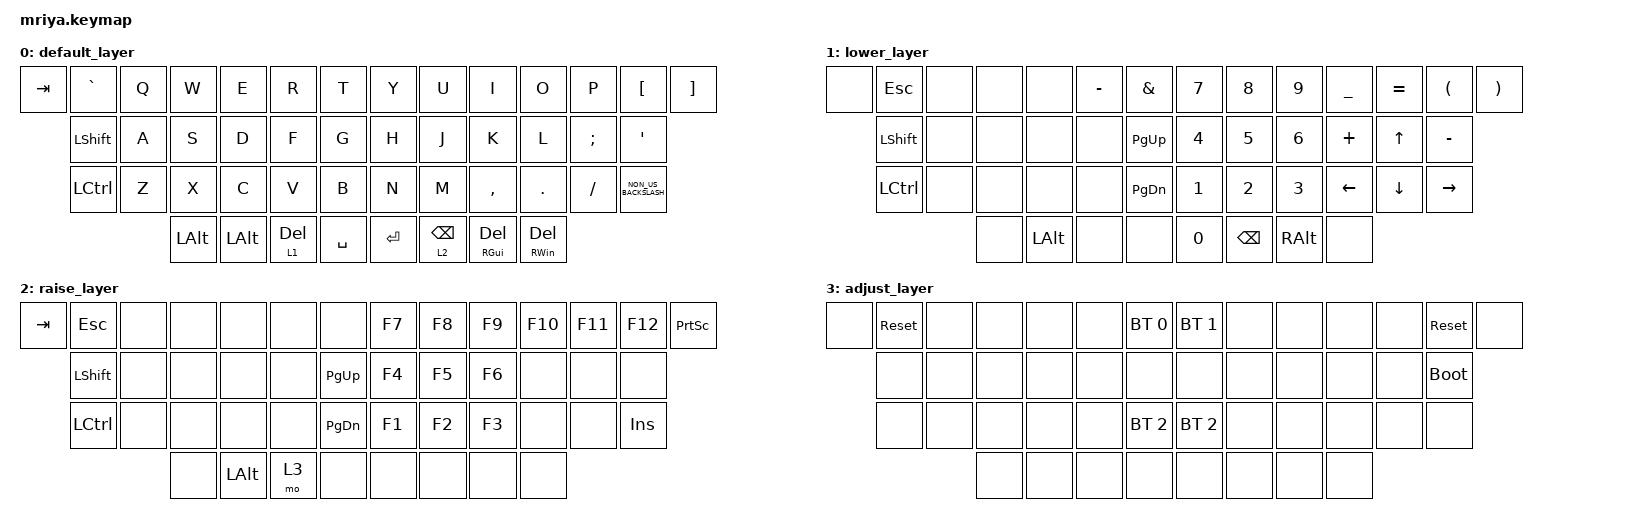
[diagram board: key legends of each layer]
/*
 * Copyright (c) 2023 Andrei Gaevskii
 *
 * SPDX-License-Identifier: MIT
 */

#include <behaviors.dtsi>
#include <dt-bindings/zmk/bt.h>
#include <dt-bindings/zmk/keys.h>

#define DEF 0
#define LWR 1
#define RSE 2
#define ADJ 3

&lt { quick_tap_ms = <200>; };

&mt { quick_tap_ms = <200>; };

/ {
    combos {
        compatible = "zmk,combos";

        layer-3-clear-bt {
            bindings = <&bt BT_CLR>;
            key-positions = <42 41>;
            layers = <3>;
        };
    };

    keymap {
        compatible = "zmk,keymap";

        default_layer {
            bindings = <
&kp TAB  &kp GRAVE   &kp Q  &kp W         &kp E         &kp R      &kp T        &kp Y      &kp U            &kp I              &kp O         &kp P     &kp LBKT              &kp RBKT
         &kp LSHIFT  &kp A  &kp S         &kp D         &kp F      &kp G        &kp H      &kp J            &kp K              &kp L         &kp SEMI  &kp SQT
         &kp LCTRL   &kp Z  &kp X         &kp C         &kp V      &kp B        &kp N      &kp M            &kp COMMA          &kp DOT       &kp FSLH  &kp NON_US_BACKSLASH
                            &kp LEFT_ALT  &kp LEFT_ALT  &lt 1 DEL  &kp SPACE    &kp ENTER  &lt 2 BACKSPACE  &mt RIGHT_GUI DEL  &mt RWIN DEL
            >;
        };

        lower_layer {
            bindings = <
&none  &kp ESC         &none  &none  &none         &kp MINUS  &kp AMPS         &kp NUMBER_7  &kp NUMBER_8   &kp NUMBER_9   &kp UNDERSCORE  &kp EQUAL       &kp LPAR         &kp RIGHT_PARENTHESIS
       &kp LEFT_SHIFT  &none  &none  &none         &none      &kp PAGE_UP      &kp NUMBER_4  &kp NUMBER_5   &kp NUMBER_6   &kp PLUS        &kp UP_ARROW    &kp MINUS
       &kp LCTRL       &none  &none  &none         &none      &kp PAGE_DOWN    &kp NUMBER_1  &kp NUMBER_2   &kp NUMBER_3   &kp LEFT_ARROW  &kp DOWN_ARROW  &kp RIGHT_ARROW
                              &none  &kp LEFT_ALT  &none      &none            &kp NUMBER_0  &kp BACKSPACE  &kp RIGHT_ALT  &none
            >;
        };

        raise_layer {
            bindings = <
&kp TAB  &kp ESCAPE      &none  &none  &none         &none  &none            &kp F7  &kp F8  &kp F9  &kp F10  &kp F11  &kp F12  &kp PRINTSCREEN
         &kp LEFT_SHIFT  &none  &none  &none         &none  &kp PAGE_UP      &kp F4  &kp F5  &kp F6  &none    &none    &none
         &kp LCTRL       &none  &none  &none         &none  &kp PAGE_DOWN    &kp F1  &kp F2  &kp F3  &none    &none    &kp INS
                                &none  &kp LEFT_ALT  &mo 3  &none            &none   &none   &none   &none
            >;
        };

        adjust_layer {
            bindings = <
&none  &sys_reset  &none  &none  &none  &none  &bt BT_SEL 0    &bt BT_SEL 1  &none  &none  &none  &none  &sys_reset   &none
       &none       &none  &none  &none  &none  &none           &none         &none  &none  &none  &none  &bootloader
       &none       &none  &none  &none  &none  &bt BT_SEL 2    &bt BT_SEL 2  &none  &none  &none  &none  &none
                          &none  &none  &none  &none           &none         &none  &none  &none
            >;
        };
    };
};
